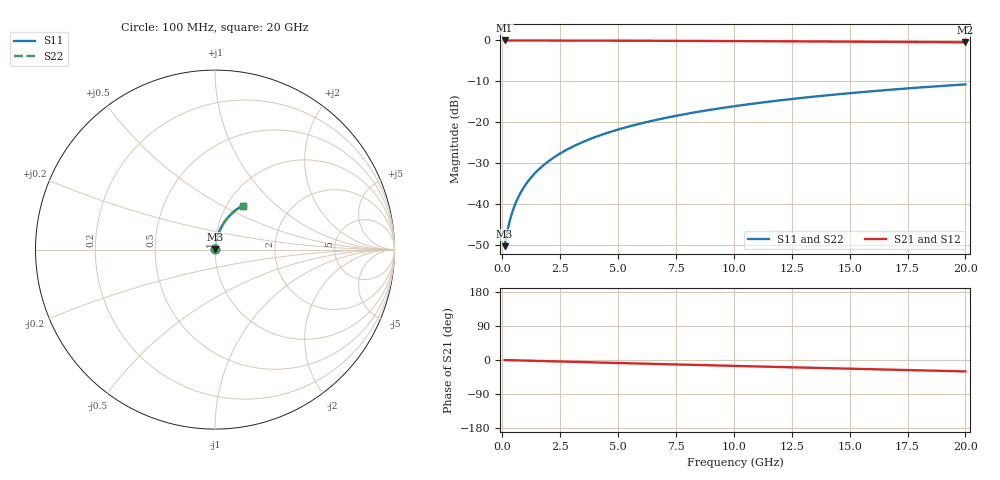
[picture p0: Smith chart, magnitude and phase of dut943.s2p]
! Touchstone file exported from HFSS 2026.1.0
!  File:  C:/ffzhzh/LocalFiles/Ansys_Project_Files/temp_train_TMRDL_943_1783158540_18472.aedt
!  Generated:  05:50:13 PM Jul  4, 2026
!  Design:  TMRDL
!  Project:  temp_train_TMRDL_943_1783158540_18472
! Variables:
!  h_bsmrdl = 2um
!  h_ox = 20um
!  h_rdl = 5um
!  h_sub = 80um
!  h_tmrdl = 4.76um
!  h_tsv = 80um
!  h_via = 3um
!  l_bsmrdl = 300um
!  l_sub = 834.94um
!  l_tmrdl = 434.94um
!  m_sub = 200um
!  pitch = 34.66um
!  r_tsv = 6um
!  s_tmrdl = 10um
!  w_bsmrdl = 18um
!  w_sub = 500um
!  w_tmrdl = 13.63um
!  x_tsv_center1 = 441.755um
!  x_tsv_center2 = 759.755um
!  x_tsv_center3 = 1208.325um
!  x_tsv_center4 = 1526.325um
!  x_tsv_center5 = 1974.895um
!  x_tsv_center6 = 2292.895um
# GHz S MA R 50.000000
! Terminal data exported
! Port[1] = TM_RDL1_1_T1
! Port[2] = TM_RDL1_1_T2
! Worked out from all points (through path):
!   200 points, 100 MHz to 20 GHz, reference 50 ohm
!   highest |S21| = -0.02 dB at 100 MHz (marker M1); lowest = -0.5 dB at 20 GHz (marker M2)
!   group delay of S21, straight-line fit = 4.18 ps
!   lowest |S11| = -50.3 dB at 100 MHz (marker M3), VSWR 1.01, Z = 50.2 + j0.178 ohm
!   |S11| at or under -10 dB: start of sweep to end of sweep
!   |S22| runs from -50.3 to -10.8 dB; largest |S21 - S12| = 2.6e-15
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0.1  0.003044 35.5  0.9975 -0.2  0.9975 -0.2  0.003044 35.5
! Gamma 0 0 0 0
! Port Impedance 50 0 50 0
0.2  0.004345 54.0  0.9974 -0.3  0.9974 -0.3  0.004345 54.0
0.3  0.005863 63.0  0.9974 -0.5  0.9974 -0.5  0.005863 63.0
0.4  0.00744 68.0  0.9973 -0.7  0.9973 -0.7  0.007441 68.1
0.5  0.009035 71.3  0.9972 -0.8  0.9972 -0.8  0.009036 71.3
0.6  0.01064 73.5  0.9971 -1.0  0.9971 -1.0  0.01064 73.5
0.8  0.01385 76.4  0.997 -1.3  0.997 -1.3  0.01385 76.4
1.1  0.01871 78.7  0.9968 -1.8  0.9968 -1.8  0.01871 78.7
1.3  0.02195 79.6  0.9967 -2.1  0.9967 -2.1  0.02195 79.6
1.6  0.02683 80.4  0.9965 -2.6  0.9965 -2.6  0.02683 80.4
2.1  0.03496 80.9  0.996 -3.4  0.996 -3.4  0.03497 80.9
2.7  0.04468 80.8  0.9953 -4.3  0.9953 -4.3  0.04469 80.8
3.5  0.05754 80.2  0.9942 -5.6  0.9942 -5.6  0.05754 80.2
4.2  0.06866 79.5  0.993 -6.7  0.993 -6.7  0.06866 79.4
5  0.08122 78.5  0.9916 -7.9  0.9916 -7.9  0.08122 78.5
5.9  0.09516 77.3  0.9898 -9.3  0.9898 -9.3  0.09516 77.3
6.8  0.1089 76.0  0.9879 -10.7  0.9879 -10.7  0.1089 76.0
8.3  0.1314 74.0  0.9844 -13.0  0.9844 -13.0  0.1314 74.0
10.1  0.1578 71.5  0.9797 -15.7  0.9797 -15.7  0.1578 71.5
13.4  0.2043 66.9  0.97 -20.6  0.97 -20.6  0.2043 66.9
16.7  0.2483 62.3  0.9589 -25.4  0.9589 -25.4  0.2483 62.3
20  0.2895 57.8  0.9468 -30.1  0.9468 -30.1  0.2895 57.8
